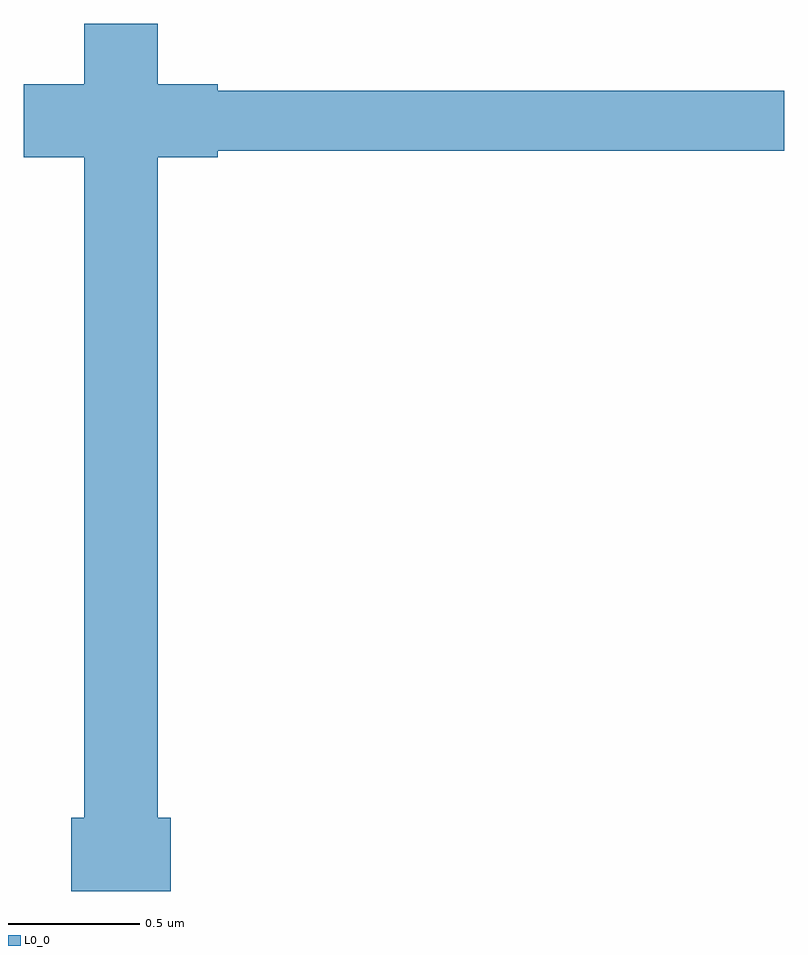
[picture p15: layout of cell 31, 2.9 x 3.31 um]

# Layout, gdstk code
import gdstk
lib = gdstk.Library(unit=1e-6, precision=1e-09)
def P(c, l, *ps):  # polygons
    for p in ps: c.add(gdstk.Polygon(p, *l))
L0_0 = (0, 0)

c_31 = lib.new_cell('31')
P(c_31, L0_0, [(1207.28,758.1),(1207.66,758.1),(1207.66,757.82),(1207.28,757.82),(1207.28,758.1)],
  [(1210,757.845),(1207.355,757.845),(1207.355,758.075),(1210,758.075),(1210,757.845)],
  [(1207.33,758.33),(1207.61,758.33),(1207.61,757.59),(1207.33,757.59),(1207.33,758.33)],
  [(1207.28,758.1),(1207.66,758.1),(1207.66,757.82),(1207.28,757.82),(1207.28,758.1)],
  [(1207.1,758.1),(1207.84,758.1),(1207.84,757.82),(1207.1,757.82),(1207.1,758.1)],
  [(1207.28,758.1),(1207.66,758.1),(1207.66,757.82),(1207.28,757.82),(1207.28,758.1)],
  [(1207.28,755.3),(1207.66,755.3),(1207.66,755.02),(1207.28,755.02),(1207.28,755.3)],
  [(1207.28,758.1),(1207.66,758.1),(1207.66,757.82),(1207.28,757.82),(1207.28,758.1)],
  [(1207.33,755.02),(1207.33,758.1),(1207.61,758.1),(1207.61,755.02),(1207.33,755.02)])

lib.write_gds('31.gds')
